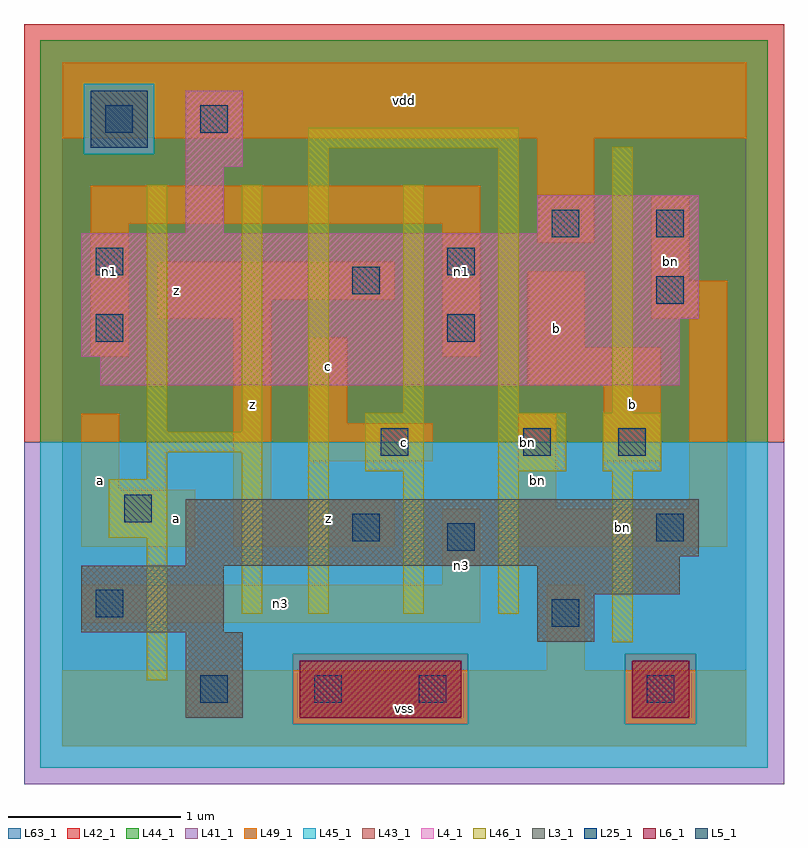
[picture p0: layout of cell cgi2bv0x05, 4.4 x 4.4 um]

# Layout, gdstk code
import gdstk
lib = gdstk.Library(unit=1e-6, precision=1e-09)
def R(c, l, rs):  # rectangles x0, y0, x1, y1
    for r in rs: c.add(gdstk.rectangle(r[:2], r[2:], *l))
L3_1 = (3, 1)
L4_1 = (4, 1)
L5_1 = (5, 1)
L6_1 = (6, 1)
L25_1 = (25, 1)
L41_1 = (41, 1)
L42_1 = (42, 1)
L43_1 = (43, 1)
L44_1 = (44, 1)
L45_1 = (45, 1)
L46_1 = (46, 1)
L49_1 = (49, 1)
L63_1 = (63, 1)

cgi2bv0x05 = lib.new_cell('cgi2bv0x05')
R(cgi2bv0x05, L3_1, [(0.715,0.165,1.045,0.66), (2.75,0.605,3.08,0.88), (0.11,0.66,0.935,1.045), (2.75,0.88,3.575,1.045), (0.715,1.045,3.575,1.1), (0.715,1.1,3.685,1.43)])
R(cgi2bv0x05, L4_1, [(0.22,2.09,3.575,2.255), (0.11,2.255,3.575,2.475), (0.11,2.475,3.685,2.97), (0.715,2.97,0.935,3.355), (2.75,2.97,3.685,3.19), (0.715,3.355,1.045,3.795)])
R(cgi2bv0x05, L5_1, [(0.165,3.465,0.495,3.795)])
R(cgi2bv0x05, L6_1, [(1.375,0.165,2.31,0.495), (3.3,0.165,3.63,0.495)])
R(cgi2bv0x05, L25_1, [(0.8,0.25,0.96,0.41), (1.46,0.25,1.62,0.41), (2.065,0.25,2.225,0.41), (3.385,0.25,3.545,0.41), (2.835,0.69,2.995,0.85), (0.195,0.745,0.355,0.905), (2.23,1.13,2.39,1.29), (1.68,1.185,1.84,1.345), (3.44,1.185,3.6,1.345), (0.36,1.295,0.52,1.455), (1.845,1.68,2.005,1.84), (2.67,1.68,2.83,1.84), (3.22,1.68,3.38,1.84), (0.195,2.34,0.355,2.5), (2.23,2.34,2.39,2.5), (3.44,2.56,3.6,2.72), (1.68,2.615,1.84,2.775), (0.195,2.725,0.355,2.885), (2.23,2.725,2.39,2.885), (2.835,2.945,2.995,3.105), (3.44,2.945,3.6,3.105), (0.25,3.55,0.41,3.71), (0.8,3.55,0.96,3.71)])
R(cgi2bv0x05, L41_1, [(-0.22,-0.22,4.18,1.76)])
R(cgi2bv0x05, L42_1, [(-0.22,1.76,4.18,4.18)])
R(cgi2bv0x05, L43_1, [(0.715,0.165,1.045,0.66), (1.375,0.165,2.31,0.495), (3.3,0.165,3.63,0.495), (2.75,0.605,3.08,0.88), (0.11,0.66,0.935,1.045), (2.75,0.88,3.575,1.045), (0.715,1.045,3.575,1.1), (0.715,1.1,3.685,1.43), (0.22,2.09,3.575,2.255), (0.11,2.255,3.575,2.475), (0.11,2.475,3.685,2.97), (0.715,2.97,0.935,3.355), (2.75,2.97,3.685,3.19), (0.715,3.355,1.045,3.795), (0.165,3.465,0.495,3.795)])
R(cgi2bv0x05, L44_1, [(1.335,0.125,2.35,0.535), (3.26,0.125,3.67,0.535), (-0.125,1.76,4.085,3.425), (-0.125,3.425,0.125,3.835), (0.535,3.425,4.085,3.835), (-0.125,3.835,4.085,4.085)])
R(cgi2bv0x05, L45_1, [(-0.125,-0.125,4.085,0.125), (-0.125,0.125,1.335,0.535), (2.35,0.125,3.26,0.535), (3.67,0.125,4.085,0.535), (-0.125,0.535,4.085,1.76), (0.125,3.425,0.535,3.835)])
R(cgi2bv0x05, L46_1, [(0.49,0.38,0.61,1.205), (3.185,0.6,3.305,1.59), (1.04,0.765,1.16,1.7), (1.425,0.765,1.545,3.46), (1.975,0.765,2.095,1.59), (2.525,0.765,2.645,1.59), (0.27,1.205,0.61,1.545), (0.49,1.545,0.61,1.7), (1.755,1.59,2.095,1.93), (2.525,1.59,2.92,1.93), (3.13,1.59,3.47,1.93), (0.49,1.7,1.16,1.82), (0.49,1.82,0.61,3.25), (1.04,1.82,1.16,3.25), (1.975,1.93,2.095,3.25), (2.525,1.93,2.645,3.46), (3.185,1.93,3.305,3.47), (1.425,3.46,2.645,3.58)])
R(cgi2bv0x05, L49_1, [(0,0,3.96,0.44), (2.805,0.44,3.025,0.935), (0.11,0.715,2.42,0.935), (2.2,0.935,2.42,1.375), (0.11,1.155,0.77,1.485), (0.99,1.155,1.925,1.43), (2.64,1.155,3.85,1.375), (2.64,1.375,2.86,1.925), (3.63,1.375,3.85,2.475), (0.99,1.43,1.21,2.475), (0.11,1.485,0.33,1.925), (1.43,1.65,2.145,1.87), (3.135,1.65,3.465,2.09), (1.43,1.87,1.65,2.365), (2.695,2.09,3.465,2.31), (0.165,2.255,0.385,3.025), (2.2,2.255,2.42,3.025), (2.695,2.31,3.025,2.75), (0.55,2.475,1.21,2.585), (3.41,2.475,3.85,2.695), (0.55,2.585,1.925,2.805), (3.41,2.695,3.63,3.19), (2.75,2.915,3.08,3.52), (0.165,3.025,2.42,3.245), (0,3.52,3.96,3.96)])
R(cgi2bv0x05, L63_1, [(0,0,3.96,3.96)])
cgi2bv0x05.add(gdstk.Label('bn', (2.695,1.76), layer=49, texttype=1))
cgi2bv0x05.add(gdstk.Label('a', (0.66,1.32), layer=49, texttype=1))
cgi2bv0x05.add(gdstk.Label('a', (0.22,1.54), layer=49, texttype=1))
cgi2bv0x05.add(gdstk.Label('z', (0.66,2.64), layer=49, texttype=1))
cgi2bv0x05.add(gdstk.Label('n1', (0.275,2.75), layer=49, texttype=1))
cgi2bv0x05.add(gdstk.Label('z', (1.54,1.32), layer=49, texttype=1))
cgi2bv0x05.add(gdstk.Label('c', (1.54,2.2), layer=49, texttype=1))
cgi2bv0x05.add(gdstk.Label('z', (1.1,1.98), layer=49, texttype=1))
cgi2bv0x05.add(gdstk.Label('vss', (1.98,0.22), layer=49, texttype=1))
cgi2bv0x05.add(gdstk.Label('n3', (1.265,0.825), layer=49, texttype=1))
cgi2bv0x05.add(gdstk.Label('n3', (2.31,1.045), layer=49, texttype=1))
cgi2bv0x05.add(gdstk.Label('c', (1.98,1.76), layer=49, texttype=1))
cgi2bv0x05.add(gdstk.Label('bn', (2.75,1.54), layer=49, texttype=1))
cgi2bv0x05.add(gdstk.Label('b', (2.86,2.42), layer=49, texttype=1))
cgi2bv0x05.add(gdstk.Label('n1', (2.31,2.75), layer=49, texttype=1))
cgi2bv0x05.add(gdstk.Label('vdd', (1.98,3.74), layer=49, texttype=1))
cgi2bv0x05.add(gdstk.Label('bn', (3.245,1.265), layer=49, texttype=1))
cgi2bv0x05.add(gdstk.Label('b', (3.3,1.98), layer=49, texttype=1))
cgi2bv0x05.add(gdstk.Label('bn', (3.52,2.805), layer=49, texttype=1))

lib.write_gds('cgi2bv0x05.gds')
